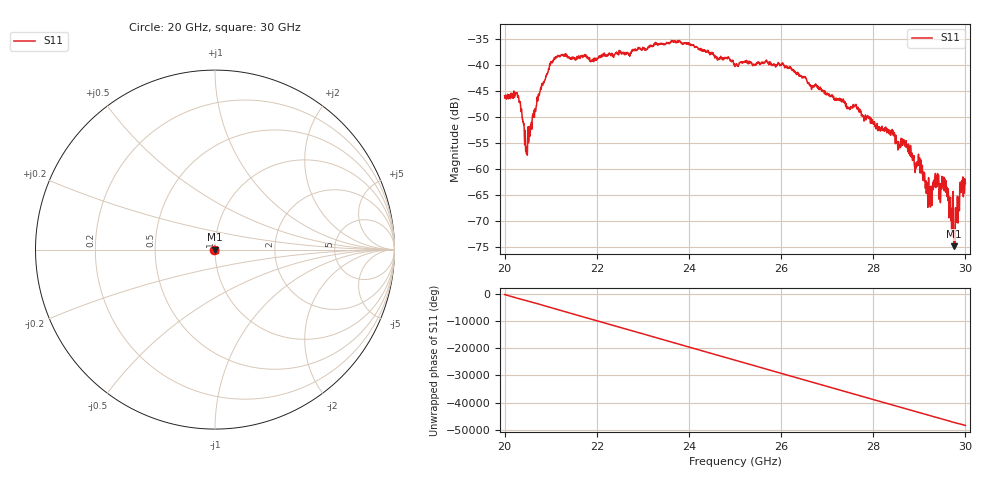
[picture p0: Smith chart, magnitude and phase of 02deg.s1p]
#  HZ  S  RI  R  50.00
! Rohde & Schwarz ZVA40 4Ports - Version 3.90 - 1145.1110k42 SN: 100403
! Date: 2023-10-03 11:34:15
! Measurement: S12
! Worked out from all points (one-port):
!   5001 points, 20 GHz to 30 GHz, reference 50 ohm
!   lowest |S11| = -74.9 dB at 29.75 GHz (marker M1), VSWR 1.00, Z = 50 - j0.000793 ohm
!   |S11| at or under -10 dB: start of sweep to end of sweep
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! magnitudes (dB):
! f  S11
! 20 GHz  -45.9
! 20.29 GHz  -46.2
! 20.48 GHz  -56.2
! 20.75 GHz  -45.8
! 20.98 GHz  -39.8
! 21.25 GHz  -38.0
! 21.9 GHz  -39.0
! 22.5 GHz  -37.5
! 23.75 GHz  -35.6
! 25 GHz  -40.3
! 25.67 GHz  -39.2
! 26.25 GHz  -40.9
! 27.5 GHz  -48.4
! 27.63 GHz  -48.0
! 28.09 GHz  -51.4
! 28.42 GHz  -53.5
! 28.55 GHz  -54.7
! 28.75 GHz  -56.7
! 28.9 GHz  -59.5
! 29.02 GHz  -60.8
! 29.23 GHz  -63.5
! 29.36 GHz  -63.6
! 29.47 GHz  -63.4
! 29.54 GHz  -63.5
! 29.75 GHz  -74.9
! 29.79 GHz  -68.8
! 29.92 GHz  -62.7
! 30 GHz  -62.8
